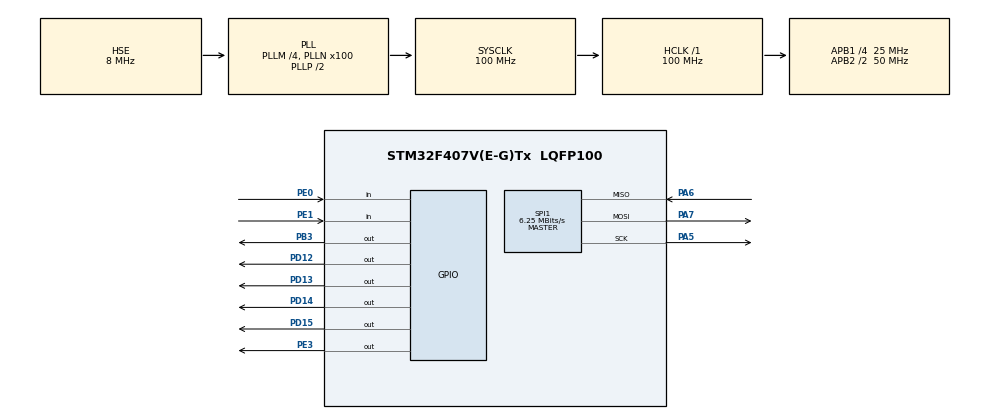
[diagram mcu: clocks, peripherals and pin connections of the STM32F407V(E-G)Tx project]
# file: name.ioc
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Mcu.Family=STM32F4
Mcu.Name=STM32F407V(E-G)Tx
Mcu.Package=LQFP100
NVIC.PriorityGroup=NVIC_PRIORITYGROUP_4
NVIC.TIM6_DAC_IRQn=true\:1\:0\:true\:false\:true
PA5.Mode=Full_Duplex_Master
PA5.Signal=SPI1_SCK
PA6.Mode=Full_Duplex_Master
PA6.Signal=SPI1_MISO
PA7.Mode=Full_Duplex_Master
PA7.Signal=SPI1_MOSI
PB3.Signal=GPIO_Output
PD12.Signal=GPIO_Output
PD13.Signal=GPIO_Output
PD14.Signal=GPIO_Output
PD15.Signal=GPIO_Output
PE0.Signal=GPIO_Input
PE1.Signal=GPIO_Input
PE3.GPIO_Speed=GPIO_SPEED_FREQ_MEDIUM
PE3.Signal=GPIO_Output
PH0-OSC_IN.Mode=HSE-External-Oscillator
PH0-OSC_IN.Signal=RCC_OSC_IN
PH1-OSC_OUT.Mode=HSE-External-Oscillator
PH1-OSC_OUT.Signal=RCC_OSC_OUT
ProjectManager.HeapSize=0x2000
ProjectManager.StackSize=0x4000
ProjectManager.TargetToolchain=MDK-ARM V5
RCC.48MHZClocksFreq_Value=28571428.57142857
RCC.AHBFreq_Value=100000000
RCC.APB1CLKDivider=RCC_HCLK_DIV4
RCC.APB1Freq_Value=25000000
RCC.APB1TimFreq_Value=50000000
RCC.APB2CLKDivider=RCC_HCLK_DIV2
RCC.APB2Freq_Value=50000000
RCC.APB2TimFreq_Value=100000000
RCC.CortexFreq_Value=100000000
RCC.HCLKFreq_Value=100000000
RCC.HSE_VALUE=8000000
RCC.HSI_VALUE=16000000
RCC.LSE_VALUE=32768
RCC.PLLM=4
RCC.PLLN=100
RCC.PLLQ=7
RCC.PLLSourceVirtual=RCC_PLLSOURCE_HSE
RCC.SYSCLKFreq_VALUE=100000000
RCC.SYSCLKSource=RCC_SYSCLKSOURCE_PLLCLK
RCC.VCOOutputFreq_Value=200000000
SPI1.BaudRatePrescaler=SPI_BAUDRATEPRESCALER_8
SPI1.CalculateBaudRate=6.25 MBits/s
SPI1.Direction=SPI_DIRECTION_2LINES
SPI1.Mode=SPI_MODE_MASTER
SPI1.VirtualType=VM_MASTER
TIM6.Period=15
TIM6.Prescaler=4999
TIM6.TIM_MasterOutputTrigger=TIM_TRGO_UPDATE
VP_TIM6_VS_ClockSourceINT.Mode=Enable_Timer
board=name

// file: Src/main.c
/**
  ******************************************************************************
  * File Name          : main.c
  * Description        : Main program body
  ******************************************************************************
  ** This notice applies to any and all portions of this file
  * that are not between comment pairs USER CODE BEGIN and
  * USER CODE END. Other portions of this file, whether
  * inserted by the user or by software development tools
  * are owned by their respective copyright owners.
  *
  * COPYRIGHT(c) 2017 STMicroelectronics
  *
  * Redistribution and use in source and binary forms, with or without modification,
  * are permitted provided that the following conditions are met:
  *   1. Redistributions of source code must retain the above copyright notice,
  *      this list of conditions and the following disclaimer.
  *   2. Redistributions in binary form must reproduce the above copyright notice,
  *      this list of conditions and the following disclaimer in the documentation
  *      and/or other materials provided with the distribution.
  *   3. Neither the name of STMicroelectronics nor the names of its contributors
  *      may be used to endorse or promote products derived from this software
  *      without specific prior written permission.
  *
  * THIS SOFTWARE IS PROVIDED BY THE COPYRIGHT HOLDERS AND CONTRIBUTORS "AS IS"
  * AND ANY EXPRESS OR IMPLIED WARRANTIES, INCLUDING, BUT NOT LIMITED TO, THE
  * IMPLIED WARRANTIES OF MERCHANTABILITY AND FITNESS FOR A PARTICULAR PURPOSE ARE
  * DISCLAIMED. IN NO EVENT SHALL THE COPYRIGHT HOLDER OR CONTRIBUTORS BE LIABLE
  * FOR ANY DIRECT, INDIRECT, INCIDENTAL, SPECIAL, EXEMPLARY, OR CONSEQUENTIAL
  * DAMAGES (INCLUDING, BUT NOT LIMITED TO, PROCUREMENT OF SUBSTITUTE GOODS OR
  * SERVICES; LOSS OF USE, DATA, OR PROFITS; OR BUSINESS INTERRUPTION) HOWEVER
  * CAUSED AND ON ANY THEORY OF LIABILITY, WHETHER IN CONTRACT, STRICT LIABILITY,
  * OR TORT (INCLUDING NEGLIGENCE OR OTHERWISE) ARISING IN ANY WAY OUT OF THE USE
  * OF THIS SOFTWARE, EVEN IF ADVISED OF THE POSSIBILITY OF SUCH DAMAGE.
  *
  ******************************************************************************
  */
#include "main.h"
#include "stm32f4xx_hal.h"

SPI_HandleTypeDef hspi1;

TIM_HandleTypeDef htim6;

/* USER CODE BEGIN PV */
/* Private variables ---------------------------------------------------------*/

/* USER CODE END PV */

void SystemClock_Config(void);
static void MX_GPIO_Init(void);
static void MX_TIM6_Init(void);
static void MX_SPI1_Init(void);

/* USER CODE BEGIN PFP */
/* Private function prototypes -----------------------------------------------*/

/* USER CODE END PFP */

/* USER CODE BEGIN 0 */
void MX_TIM6_Init2(uint16_t n)
{

  TIM_MasterConfigTypeDef sMasterConfig;

  htim6.Instance = TIM6;
  htim6.Init.Prescaler = 4999;
  htim6.Init.CounterMode = TIM_COUNTERMODE_UP;
  htim6.Init.Period = n;
  if (HAL_TIM_Base_Init(&htim6) != HAL_OK)
  {
    _Error_Handler(__FILE__, __LINE__);
  }

  sMasterConfig.MasterOutputTrigger = TIM_TRGO_UPDATE;
  sMasterConfig.MasterSlaveMode = TIM_MASTERSLAVEMODE_DISABLE;
  if (HAL_TIMEx_MasterConfigSynchronization(&htim6, &sMasterConfig) != HAL_OK)
  {
    _Error_Handler(__FILE__, __LINE__);
  }

}

/* USER CODE END 0 */

int main(void)
{

  /* USER CODE BEGIN 1 */
	uint16_t pulse;
  /* USER CODE END 1 */

  /* MCU Configuration----------------------------------------------------------*/

  /* Reset of all peripherals, Initializes the Flash interface and the Systick. */
  HAL_Init();

  /* Configure the system clock */
  SystemClock_Config();

  /* Initialize all configured peripherals */
  MX_GPIO_Init();
  MX_TIM6_Init();
  MX_SPI1_Init();

  /* USER CODE BEGIN 2 */
  Accel_Ini();
  /* USER CODE END 2 */

  /* Infinite loop */
  /* USER CODE BEGIN WHILE */
  while (1)
  {
		pulse = Accel_ReadAcc();
		HAL_Delay(10);
		MX_TIM6_Init2(pulse);

		HAL_TIM_Base_Start_IT(&htim6);
		HAL_Delay(100);
	}
  /* USER CODE END WHILE */

}

/** System Clock Configuration
*/
void SystemClock_Config(void)
{

  RCC_OscInitTypeDef RCC_OscInitStruct;
  RCC_ClkInitTypeDef RCC_ClkInitStruct;

    /**Configure the main internal regulator output voltage
    */
  __HAL_RCC_PWR_CLK_ENABLE();

  __HAL_PWR_VOLTAGESCALING_CONFIG(PWR_REGULATOR_VOLTAGE_SCALE1);

    /**Initializes the CPU, AHB and APB busses clocks
    */
  RCC_OscInitStruct.OscillatorType = RCC_OSCILLATORTYPE_HSE;
  RCC_OscInitStruct.HSEState = RCC_HSE_ON;
  RCC_OscInitStruct.PLL.PLLState = RCC_PLL_ON;
  RCC_OscInitStruct.PLL.PLLSource = RCC_PLLSOURCE_HSE;
  RCC_OscInitStruct.PLL.PLLM = 4;
  RCC_OscInitStruct.PLL.PLLN = 100;
  RCC_OscInitStruct.PLL.PLLP = RCC_PLLP_DIV2;
  RCC_OscInitStruct.PLL.PLLQ = 7;
  if (HAL_RCC_OscConfig(&RCC_OscInitStruct) != HAL_OK)
  {
    _Error_Handler(__FILE__, __LINE__);
  }

    /**Initializes the CPU, AHB and APB busses clocks
    */
  RCC_ClkInitStruct.ClockType = RCC_CLOCKTYPE_HCLK|RCC_CLOCKTYPE_SYSCLK
                              |RCC_CLOCKTYPE_PCLK1|RCC_CLOCKTYPE_PCLK2;
  RCC_ClkInitStruct.SYSCLKSource = RCC_SYSCLKSOURCE_PLLCLK;
  RCC_ClkInitStruct.AHBCLKDivider = RCC_SYSCLK_DIV1;
  RCC_ClkInitStruct.APB1CLKDivider = RCC_HCLK_DIV4;
  RCC_ClkInitStruct.APB2CLKDivider = RCC_HCLK_DIV2;

  if (HAL_RCC_ClockConfig(&RCC_ClkInitStruct, FLASH_LATENCY_3) != HAL_OK)
  {
    _Error_Handler(__FILE__, __LINE__);
  }

    /**Configure the Systick interrupt time
    */
  HAL_SYSTICK_Config(HAL_RCC_GetHCLKFreq()/1000);

    /**Configure the Systick
    */
  HAL_SYSTICK_CLKSourceConfig(SYSTICK_CLKSOURCE_HCLK);

  /* SysTick_IRQn interrupt configuration */
  HAL_NVIC_SetPriority(SysTick_IRQn, 0, 0);
}

/* SPI1 init function */
static void MX_SPI1_Init(void)
{

  hspi1.Instance = SPI1;
  hspi1.Init.Mode = SPI_MODE_MASTER;
  hspi1.Init.Direction = SPI_DIRECTION_2LINES;
  hspi1.Init.DataSize = SPI_DATASIZE_8BIT;
  hspi1.Init.CLKPolarity = SPI_POLARITY_LOW;
  hspi1.Init.CLKPhase = SPI_PHASE_1EDGE;
  hspi1.Init.NSS = SPI_NSS_SOFT;
  hspi1.Init.BaudRatePrescaler = SPI_BAUDRATEPRESCALER_8;
  hspi1.Init.FirstBit = SPI_FIRSTBIT_MSB;
  hspi1.Init.TIMode = SPI_TIMODE_DISABLE;
  hspi1.Init.CRCCalculation = SPI_CRCCALCULATION_DISABLE;
  hspi1.Init.CRCPolynomial = 10;
  if (HAL_SPI_Init(&hspi1) != HAL_OK)
  {
    _Error_Handler(__FILE__, __LINE__);
  }

}

/* TIM6 init function */
static void MX_TIM6_Init(void)
{

  TIM_MasterConfigTypeDef sMasterConfig;

  htim6.Instance = TIM6;
  htim6.Init.Prescaler = 4999;
  htim6.Init.CounterMode = TIM_COUNTERMODE_UP;
  htim6.Init.Period = 15;
  if (HAL_TIM_Base_Init(&htim6) != HAL_OK)
  {
    _Error_Handler(__FILE__, __LINE__);
  }

  sMasterConfig.MasterOutputTrigger = TIM_TRGO_UPDATE;
  sMasterConfig.MasterSlaveMode = TIM_MASTERSLAVEMODE_DISABLE;
  if (HAL_TIMEx_MasterConfigSynchronization(&htim6, &sMasterConfig) != HAL_OK)
  {
    _Error_Handler(__FILE__, __LINE__);
  }

}

/** Configure pins as
        * Analog
        * Input
        * Output
        * EVENT_OUT
        * EXTI
*/
static void MX_GPIO_Init(void)
{

  GPIO_InitTypeDef GPIO_InitStruct;

  /* GPIO Ports Clock Enable */
  __HAL_RCC_GPIOE_CLK_ENABLE();
  __HAL_RCC_GPIOH_CLK_ENABLE();
  __HAL_RCC_GPIOA_CLK_ENABLE();
  __HAL_RCC_GPIOD_CLK_ENABLE();
  __HAL_RCC_GPIOB_CLK_ENABLE();

  /*Configure GPIO pin Output Level */
  HAL_GPIO_WritePin(GPIOE, GPIO_PIN_3, GPIO_PIN_RESET);

  /*Configure GPIO pin Output Level */
  HAL_GPIO_WritePin(GPIOD, GPIO_PIN_12|GPIO_PIN_13|GPIO_PIN_14|GPIO_PIN_15, GPIO_PIN_RESET);

  /*Configure GPIO pin Output Level */
  HAL_GPIO_WritePin(GPIOB, GPIO_PIN_3, GPIO_PIN_RESET);

  /*Configure GPIO pin : PE3 */
  GPIO_InitStruct.Pin = GPIO_PIN_3;
  GPIO_InitStruct.Mode = GPIO_MODE_OUTPUT_PP;
  GPIO_InitStruct.Pull = GPIO_NOPULL;
  GPIO_InitStruct.Speed = GPIO_SPEED_FREQ_MEDIUM;
  HAL_GPIO_Init(GPIOE, &GPIO_InitStruct);

  /*Configure GPIO pins : PD12 PD13 PD14 PD15 */
  GPIO_InitStruct.Pin = GPIO_PIN_12|GPIO_PIN_13|GPIO_PIN_14|GPIO_PIN_15;
  GPIO_InitStruct.Mode = GPIO_MODE_OUTPUT_PP;
  GPIO_InitStruct.Pull = GPIO_NOPULL;
  GPIO_InitStruct.Speed = GPIO_SPEED_FREQ_LOW;
  HAL_GPIO_Init(GPIOD, &GPIO_InitStruct);

  /*Configure GPIO pin : PB3 */
  GPIO_InitStruct.Pin = GPIO_PIN_3;
  GPIO_InitStruct.Mode = GPIO_MODE_OUTPUT_PP;
  GPIO_InitStruct.Pull = GPIO_NOPULL;
  GPIO_InitStruct.Speed = GPIO_SPEED_FREQ_LOW;
  HAL_GPIO_Init(GPIOB, &GPIO_InitStruct);

  /*Configure GPIO pins : PE0 PE1 */
  GPIO_InitStruct.Pin = GPIO_PIN_0|GPIO_PIN_1;
  GPIO_InitStruct.Mode = GPIO_MODE_INPUT;
  GPIO_InitStruct.Pull = GPIO_NOPULL;
  HAL_GPIO_Init(GPIOE, &GPIO_InitStruct);

}

void _Error_Handler(char * file, int line)
{
  while(1)
  {
  }
}

/************************ (C) COPYRIGHT STMicroelectronics *****END OF FILE****/
